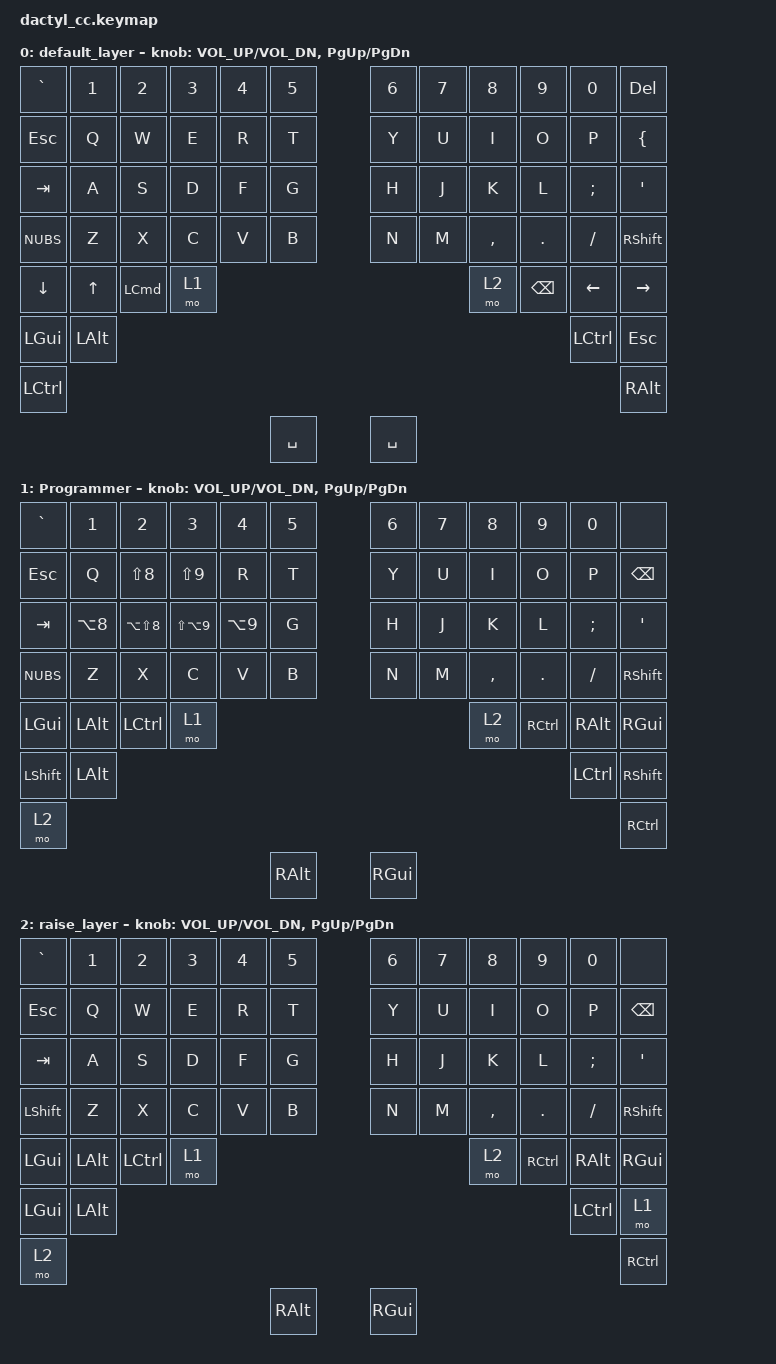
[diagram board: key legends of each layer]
/*
 * Copyright (c) 2020 The ZMK Contributors
 *
 * SPDX-License-Identifier: MIT
 */
/**/

#include <behaviors.dtsi>
#include <dt-bindings/zmk/keys.h>

/ {
    keymap {
        compatible = "zmk,keymap";

        default_layer {
            // ------------------------------------------------------------------------------------------------------------
            // |  `    |  1  |  2  |  3   |  4   |  5   |                   |  6   |  7    |  8    |  9   |   0   |       |
            // |  ESC  |  Q  |  W  |  E   |  R   |  T   |                   |  Y   |  U    |  I    |  O   |   P   | BKSPC |
            // |  TAB  |  A  |  S  |  D   |  F   |  G   |                   |  H   |  J    |  K    |  L   |   ;   |   '   |
            // | SHIFT |  Z  |  X  |  C   |  V   |  B   |  MUTE  |  |       |  N   |  M    |  ,    |  .   |   /   | SHIFT |
            //               | GUI | ALT  | CTRL | LOWER|  ENTER |  | SPACE | RAISE| CTRL  | ALT   | GUI  |

            bindings = <
&kp GRAVE  &kp N1    &kp N2  &kp N3            &kp N4     &kp N5                                      &kp N6   &kp N7  &kp N8         &kp N9    &kp N0     &kp DELETE
&kp ESC    &kp Q     &kp W   &kp E             &kp R      &kp T                                       &kp Y    &kp U   &kp I          &kp O     &kp P      &kp LEFT_BRACE
&kp TAB    &kp A     &kp S   &kp D             &kp F      &kp G                                       &kp H    &kp J   &kp K          &kp L     &kp SEMI   &kp SQT
&kp NUBS   &kp Z     &kp X   &kp C             &kp V      &kp B                                       &kp N    &kp M   &kp COMMA      &kp DOT   &kp FSLH   &kp RSHFT
           &kp DOWN  &kp UP  &kp LEFT_COMMAND  &mo 1                                                           &mo 2   &kp BACKSPACE  &kp LEFT  &kp RIGHT
                                                          &kp LGUI   &kp LALT          &kp LCTRL      &kp ESC
                                                                     &kp LEFT_CONTROL  &kp RIGHT_ALT
                                               &kp SPACE  &kp SPACE
            >;

            sensor-bindings = <&inc_dec_kp C_VOL_UP C_VOL_DN &inc_dec_kp PG_UP PG_DN>;
        };

        lower_layer {
            // TODO: Some binds are waiting for shifted keycode support.
            // ------------------------------------------------------------------------------------------------------------
            // |       |  F1 |  F2 |  F3  |  F4  |  F5  |                   |  F6  |  F7   |  F8   |  F9  |  F10  |  F11  |
            // | `     |   1 |   2 |   3  |   4  |   5  |                   |   6  |   7   |   8   |   9  |    0  |  F12  |
            // |       |  !  |  @  |  #   |  $   |  %   |                   |  ^   |  &    |  *    |  (   |   )   |   |   |
            // |       |  =  |  -  |  +   |  {   |  }   |        |  |       |  [   |  ]    |  ;    |  :   |   \   |       |
            //               |     |      |      |      |        |  |       |      |       |       |      |

            bindings = <
&kp GRAVE  &kp N1      &kp N2          &kp N3          &kp N4      &kp N5                               &kp N6           &kp N7  &kp N8     &kp N9    &kp N0    &none
&kp ESC    &kp Q       &kp LS(N8)      &kp LS(N9)      &kp R       &kp T                                &kp Y            &kp U   &kp I      &kp O     &kp P     &kp BSPC
&kp TAB    &kp LA(N8)  &kp LA(LS(N8))  &kp LS(LA(N9))  &kp LA(N9)  &kp G                                &kp H            &kp J   &kp K      &kp L     &kp SEMI  &kp SQT
&kp NUBS   &kp Z       &kp X           &kp C           &kp V       &kp B                                &kp N            &kp M   &kp COMMA  &kp DOT   &kp FSLH  &kp RSHFT
           &kp LGUI    &kp LALT        &kp LCTRL       &mo 1                                                             &mo 2   &kp RCTRL  &kp RALT  &kp RGUI
                                                                   &kp LEFT_SHIFT  &kp LALT  &kp LCTRL  &kp RIGHT_SHIFT
                                                                                   &mo 2     &kp RCTRL
                                                       &kp RALT    &kp RGUI
            >;

            sensor-bindings = <&inc_dec_kp C_VOL_UP C_VOL_DN &inc_dec_kp PG_UP PG_DN>;
            label = "Programmer";
        };

        raise_layer {
            // ------------------------------------------------------------------------------------------------------------
            // |BTCLR| BT1  | BT2  |  BT3  |  BT4  |  BT5 |                |      |      |       |      |       |       |
            // |     | INS  | PSCR | GUI   |       |      |                | PGUP |      |   ^   |      |       |       |
            // |     | ALT  | CTRL | SHIFT |       | CAPS |                | PGDN |   <- |   v   |  ->  |  DEL  | BKSPC |
            // |     | UNDO | CUT  | COPY  | PASTE |      |      |  |      |      |      |       |      |       |       |
            //              |      |       |       |      |      |  |      |      |      |       |      |

            bindings = <
&kp GRAVE  &kp N1    &kp N2    &kp N3     &kp N4    &kp N5                         &kp N6  &kp N7  &kp N8     &kp N9    &kp N0    &none
&kp ESC    &kp Q     &kp W     &kp E      &kp R     &kp T                          &kp Y   &kp U   &kp I      &kp O     &kp P     &kp BSPC
&kp TAB    &kp A     &kp S     &kp D      &kp F     &kp G                          &kp H   &kp J   &kp K      &kp L     &kp SEMI  &kp SQT
&kp LSHFT  &kp Z     &kp X     &kp C      &kp V     &kp B                          &kp N   &kp M   &kp COMMA  &kp DOT   &kp FSLH  &kp RSHFT
           &kp LGUI  &kp LALT  &kp LCTRL  &mo 1                                            &mo 2   &kp RCTRL  &kp RALT  &kp RGUI
                                                    &kp LGUI  &kp LALT  &kp LCTRL  &mo 1
                                                              &mo 2     &kp RCTRL
                                          &kp RALT  &kp RGUI
            >;

            sensor-bindings = <&inc_dec_kp C_VOL_UP C_VOL_DN &inc_dec_kp PG_UP PG_DN>;
        };
    };
};
